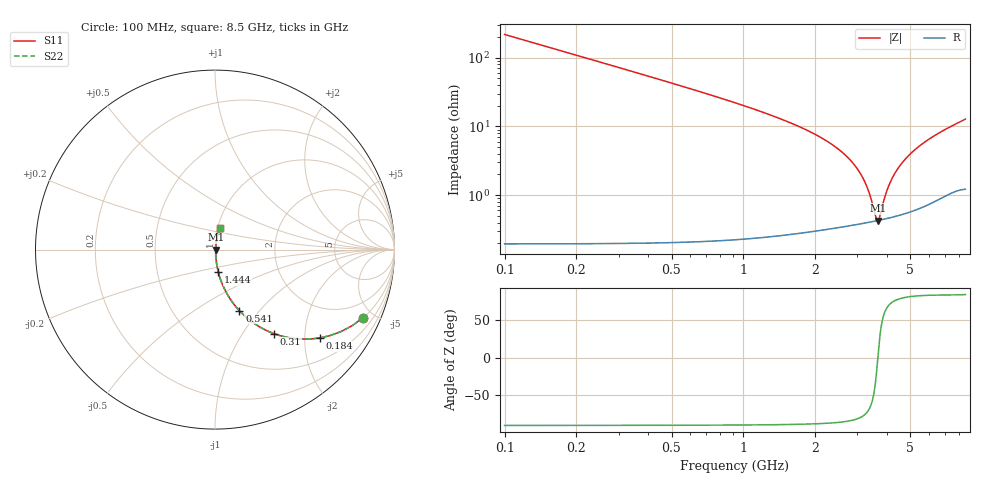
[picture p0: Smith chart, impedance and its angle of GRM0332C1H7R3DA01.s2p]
!Murata Part Number: GRM0332C1H7R3DA01
!These Parameters are Measured in Series Mode Connection
!Data Generated on Mar 30, 2021
!  o--ll--o
!Port1  Port2
!  o------o
!Operation Temp=25[degC], DC Bias Voltage=0[V]
!Freq. Start=100[MHz] Stop=9[GHz] 401[Steps]
# Hz S RI R 50
!Freq.(Hz) S11(Real) S11(Imag) S21(Real) S21(Imag) S12(Real) S12(Imag) S22(Real) S22(Imag)
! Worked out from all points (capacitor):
!   401 points, 100 MHz to 8.5 GHz, reference 50 ohm
!   read as one part in series: C = 7.3 pF near 142 MHz
!   lowest |Z| = 428 mohm at 3.649 GHz (marker M1)
!   series resonance near 3.653 GHz, so ESL is about 260 pH
!   S11 on the Smith chart (normalised r, x): 100 MHz: 1.00, -4.36; 184 MHz: 1.00, -2.36; 310 MHz: 1.00, -1.40; 541 MHz: 1.00, -0.79; 1.444 GHz: 1.01, -0.25; 8.5 GHz: 1.02, +0.25
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1e8  0.8257 -0.3789  0.1743 0.3789  0.1743 0.3789  0.8257 -0.3789
1.84e8  0.5826 -0.4923  0.4174 0.4923  0.4174 0.4923  0.5826 -0.4923
3.1e8  0.3282 -0.4681  0.6718 0.4681  0.6718 0.4681  0.3282 -0.4681
4.15e8  0.2128 -0.4074  0.7872 0.4074  0.7872 0.4074  0.2128 -0.4074
5.41e8  0.1357 -0.3399  0.8643 0.3399  0.8643 0.3399  0.1357 -0.3399
9.19e8  0.049 -0.2108  0.951 0.2108  0.951 0.2108  0.049 -0.2108
1.444e9  0.0184 -0.1247  0.9816 0.1247  0.9816 0.1247  0.0184 -0.1247
1.507e9  0.0167 -0.1177  0.9833 0.1177  0.9833 0.1177  0.0167 -0.1177
2.41e9  0.00589 -0.0508  0.9941 0.0508  0.9941 0.0508  0.00589 -0.0508
2.914e9  0.00442 -0.0272  0.9956 0.0272  0.9956 0.0272  0.00442 -0.0272
3.271e9  0.00413 -0.0132  0.9959 0.0132  0.9959 0.0132  0.00413 -0.0132
3.397e9  0.00413 -0.00871  0.9959 0.00871  0.9959 0.00871  0.00413 -0.00871
3.586e9  0.00421 -0.00222  0.9958 0.00222  0.9958 0.00222  0.00421 -0.00222
3.649e9  0.00426 -0.000127  0.9957 0.000127  0.9957 0.000127  0.00426 -0.000127
3.712e9  0.00431 0.00193  0.9957 -0.00193  0.9957 -0.00193  0.00431 0.00193
3.88e9  0.00451 0.00727  0.9955 -0.00727  0.9955 -0.00727  0.00451 0.00727
4.006e9  0.0047 0.0111  0.9953 -0.0111  0.9953 -0.0111  0.0047 0.0111
4.3e9  0.00525 0.0198  0.9947 -0.0198  0.9947 -0.0198  0.00525 0.0198
4.867e9  0.00677 0.0355  0.9932 -0.0355  0.9932 -0.0355  0.00677 0.0355
5.707e9  0.01 0.057  0.99 -0.057  0.99 -0.057  0.01 0.057
7.114e9  0.0182 0.0902  0.9818 -0.0902  0.9818 -0.0902  0.0182 0.0902
8.5e9  0.0274 0.1222  0.9726 -0.1222  0.9726 -0.1222  0.0274 0.1222
